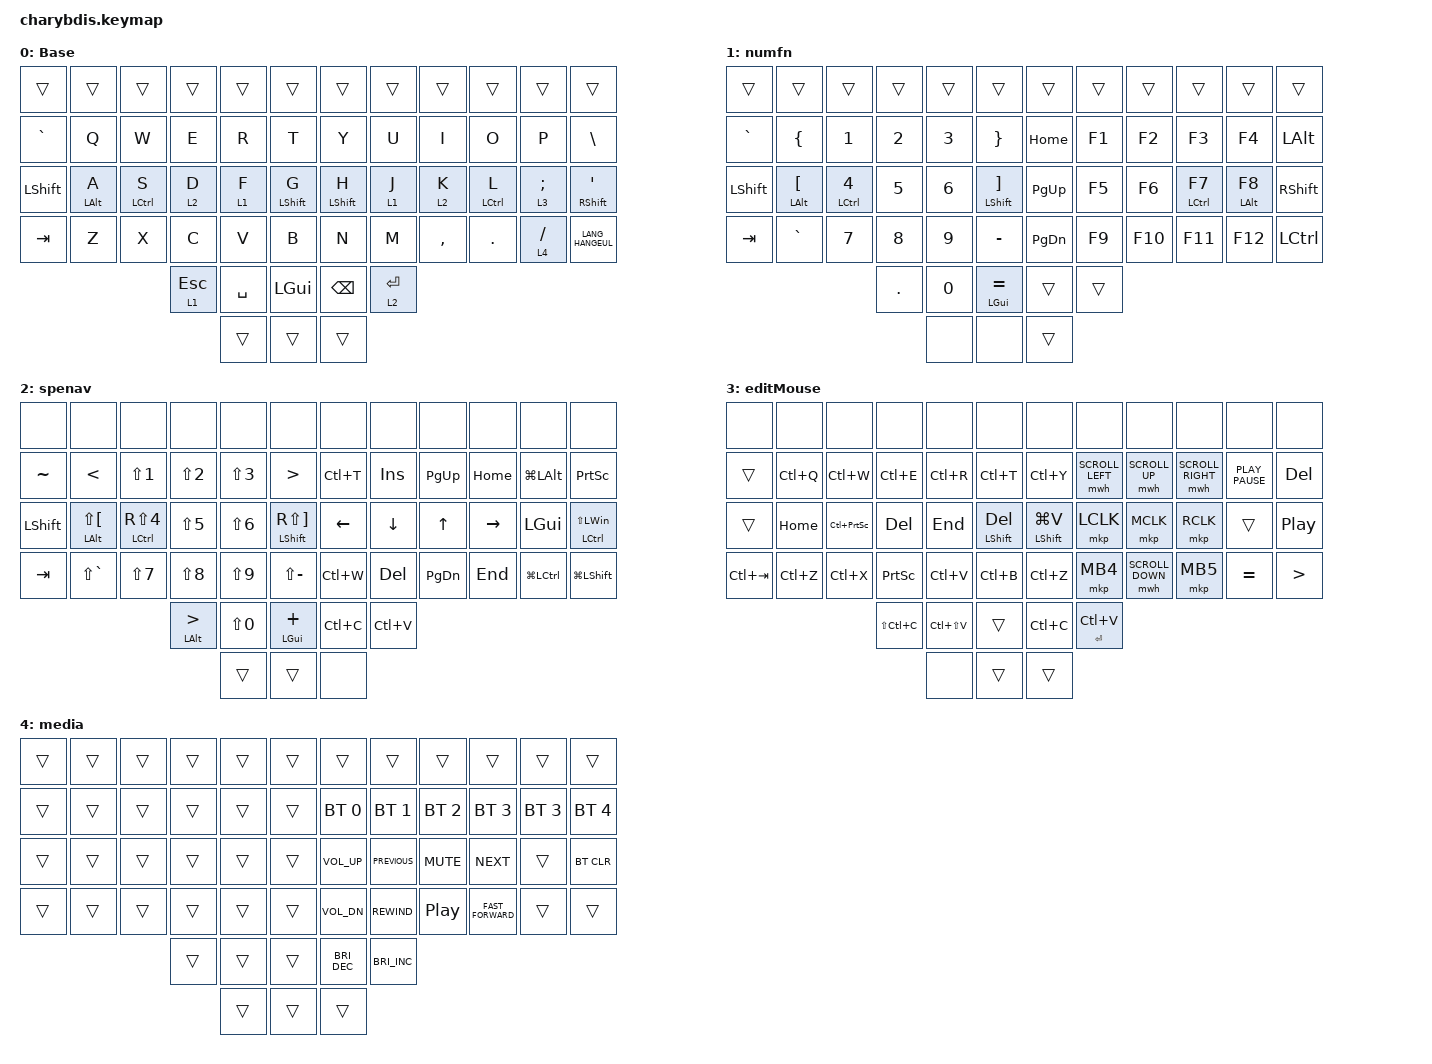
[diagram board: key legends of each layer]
#include <dt-bindings/zmk/mouse.h>
#include <behaviors.dtsi>
#include <dt-bindings/zmk/bt.h>
#include <dt-bindings/zmk/keys.h>

&lt {
    tapping-term-ms = <200>;
    flavor = "balanced";
    quick-tap-ms = <150>;
};

/ {
    combos {
        compatible = "zmk,combos";

        escc {
            bindings = <&kp ESC>;
            key-positions = <17 18>;
            layers = <0>;
        };

        lb {
            bindings = <&kp LEFT_BRACKET>;
            key-positions = <20 19>;
        };

        rb {
            bindings = <&kp RIGHT_BRACKET>;
            key-positions = <21 20>;
        };

        caps {
            bindings = <&kp CAPS>;
            key-positions = <25 24>;
        };

        less {
            bindings = <&kp LESS_THAN>;
            key-positions = <44 43>;
        };

        equal {
            bindings = <&kp EQUAL>;
            key-positions = <45 44>;
        };

        more {
            bindings = <&kp GREATER_THAN>;
            key-positions = <47 46>;
        };

        grav {
            bindings = <&kp GRAVE>;
            key-positions = <13 14>;
        };

        minus {
            bindings = <&kp MINUS>;
            key-positions = <45 46>;
        };

        lbk {
            bindings = <&kp LEFT_PARENTHESIS>;
            key-positions = <16 15>;
        };

        rbk {
            bindings = <&kp RIGHT_PARENTHESIS>;
            key-positions = <17 16>;
        };
    };

    keymap {
        compatible = "zmk,keymap";

        Base {
            bindings = <
&trans     &trans          &trans       &trans     &trans     &trans              &trans            &trans       &trans     &trans       &trans       &trans
&kp GRAVE  &kp Q           &kp W        &kp E      &kp R      &kp T               &kp Y             &kp U        &kp I      &kp O        &kp P        &kp BACKSLASH
&kp LSHFT  &mt LEFT_ALT A  &mt LCTRL S  &lt 2 D    &lt 1 F    &mt LEFT_SHIFT G    &mt LEFT_SHIFT H  &lt 1 J      &lt 2 K    &mt LCTRL L  &lt 3 SEMI   &mt RIGHT_SHIFT SQT
&kp TAB    &kp Z           &kp X        &kp C      &kp V      &kp B               &kp N             &kp M        &kp COMMA  &kp DOT      &lt 4 SLASH  &kp LANG_HANGEUL
                                        &lt 1 ESC  &kp SPACE  &kp LEFT_GUI        &kp BACKSPACE     &lt 2 ENTER
                                                   &trans     &trans              &trans
            >;

            trackball-bindings = <&tmv_fine>;
        };

        numfn {
            bindings = <
&trans      &trans                     &trans              &trans        &trans        &trans                          &trans     &trans  &trans   &trans        &trans           &trans
&kp GRAVE   &kp LEFT_BRACE             &kp NUMBER_1        &kp NUMBER_2  &kp NUMBER_3  &kp RIGHT_BRACE                 &kp HOME   &kp F1  &kp F2   &kp F3        &kp F4           &kp LEFT_ALT
&kp LSHIFT  &mt LEFT_ALT LEFT_BRACKET  &mt LCTRL NUMBER_4  &kp N5        &kp NUMBER_6  &mt LEFT_SHIFT RIGHT_BRACKET    &kp PG_UP  &kp F5  &kp F6   &mt LCTRL F7  &mt LEFT_ALT F8  &kp RIGHT_SHIFT
&kp TAB     &kp GRAVE                  &kp N7              &kp N8        &kp N9        &kp MINUS                       &kp PG_DN  &kp F9  &kp F10  &kp F11       &kp F12          &kp LCTRL
                                                           &kp PERIOD    &kp N0        &mt LEFT_GUI EQUAL              &trans     &trans
                                                                         &none         &none                           &trans
            >;

            trackball-bindings = <&tmv_coarse>;
        };

        spenav {
            bindings = <
&none           &none                          &none                   &none                      &none             &none                               &none           &none           &none         &none      &none             &none
&kp TILDE       &kp LESS_THAN                  &kp LS(NUMBER_1)        &kp LS(NUMBER_2)           &kp LS(NUMBER_3)  &kp GREATER_THAN                    &kp LC(T)       &kp INS         &kp PG_UP     &kp HOME   &kp LG(LEFT_ALT)  &kp PRINTSCREEN
&kp LEFT_SHIFT  &mt LEFT_ALT LS(LEFT_BRACKET)  &mt LCTRL RS(NUMBER_4)  &kp LS(N5)                 &kp LS(NUMBER_6)  &mt LEFT_SHIFT RS(RIGHT_BRACKET)    &kp LEFT_ARROW  &kp DOWN_ARROW  &kp UP_ARROW  &kp RIGHT  &kp LEFT_GUI      &mt LCTRL LS(LEFT_WIN)
&kp TAB         &kp LS(GRAVE)                  &kp LS(N7)              &kp LS(N8)                 &kp LS(N9)        &kp LS(MINUS)                       &kp LC(W)       &kp DELETE      &kp PG_DN     &kp END    &kp LG(LCTRL)     &kp LG(LEFT_SHIFT)
                                                                       &mt LEFT_ALT GREATER_THAN  &kp LS(N0)        &mt LEFT_GUI PLUS                   &kp LC(C)       &kp LC(V)
                                                                                                  &trans            &trans                              &none
            >;

            trackball-bindings = <&tmv_coarse>;
        };

        editMouse {
            bindings = <
&none        &none      &none                &none            &none          &none                    &none                 &none             &none             &none              &none             &none
&trans       &kp LC(Q)  &kp LC(W)            &kp LC(E)        &kp LC(R)      &kp LC(T)                &kp LC(Y)             &mwh SCROLL_LEFT  &mwh SCROLL_UP    &mwh SCROLL_RIGHT  &kp K_PLAY_PAUSE  &kp DELETE
&trans       &kp HOME   &kp LC(PRINTSCREEN)  &kp DELETE       &kp END        &mt LEFT_SHIFT DELETE    &mt LEFT_SHIFT LG(V)  &mkp LCLK         &mkp MCLK         &mkp RCLK          &trans            &kp C_PLAY_PAUSE
&kp LC(TAB)  &kp LC(Z)  &kp LC(X)            &kp PRINTSCREEN  &kp LC(V)      &kp LC(B)                &kp LC(Z)             &mkp MB4          &mwh SCROLL_DOWN  &mkp MB5           &kp EQUAL         &kp GREATER_THAN
                                             &kp LS(LC(C))    &kp LC(LS(V))  &trans                   &kp LC(C)             &mt ENTER LC(V)
                                                              &none          &trans                   &trans
            >;

            trackball-bindings = <&tmv_coarse>;
        };

        media {
            bindings = <
&trans  &trans  &trans  &trans  &trans  &trans    &trans                &trans                &trans            &trans              &trans        &trans
&trans  &trans  &trans  &trans  &trans  &trans    &bt BT_SEL 0          &bt BT_SEL 1          &bt BT_SEL 2      &bt BT_SEL 3        &bt BT_SEL 3  &bt BT_SEL 4
&trans  &trans  &trans  &trans  &trans  &trans    &kp C_VOLUME_UP       &kp C_PREVIOUS        &kp C_MUTE        &kp C_NEXT          &trans        &bt BT_CLR
&trans  &trans  &trans  &trans  &trans  &trans    &kp C_VOL_DN          &kp C_REWIND          &kp C_PLAY_PAUSE  &kp C_FAST_FORWARD  &trans        &trans
                        &trans  &trans  &trans    &kp C_BRIGHTNESS_DEC  &kp C_BRIGHTNESS_INC
                                &trans  &trans    &trans
            >;

            trackball-bindings = <&tmv_fine>;
        };
    };
};
